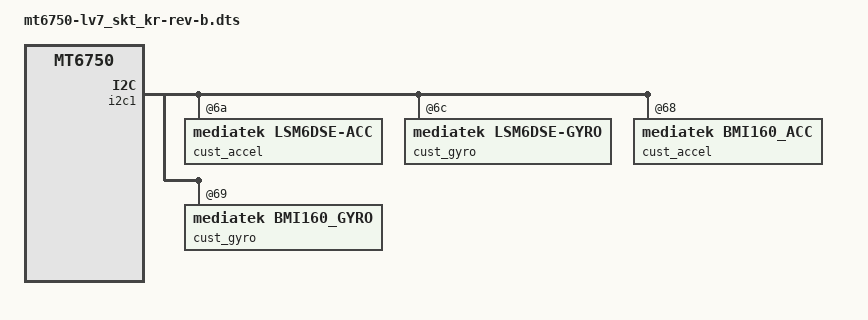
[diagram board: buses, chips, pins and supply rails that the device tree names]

/dts-v1/;

#include "../muse6750_hdk_o_lge.dtsi"

#include "../mt6750-common.dtsi"

#include "mt6750-lv7_skt_kr-power.dtsi"
#include "mt6750-lv7_skt_kr-panel.dtsi"
#include "mt6750-lv7_skt_kr-touch.dtsi"
#include "mt6750-lv7_skt_kr-sensor.dtsi"
//#include "mt6750-lv7_skt_kr-fingerprint.dtsi"
#include "mt6750-lv7_skt_kr-misc.dtsi"
#include "mt6750-lv7_skt_kr-sound.dtsi"
#include "mt6750-lv7_skt_kr-nfc.dtsi"
#include "mt6750-lv7_skt_kr-common.dtsi"
#include "mt6750-lv7_skt_kr-usb.dtsi"
#include "mt6750-lv7_skt_kr-camera.dtsi"
#include "mt6750-lv7_skt_kr-tdmb.dtsi"

/ {
	/*
	typedef enum {
		HW_REV_0 = 0,
		HW_REV_0_1,
		HW_REV_A,
		HW_REV_B,
		HW_REV_C,
		HW_REV_1_0,
		HW_REV_1_1,
		HW_REV_MAX
	} rev_type;
	*/
	lge,pcb_revision = <0x3>; // rev_b
};

&i2c1 {
	cust_accel@6a {
		compatible = "mediatek,lsm6dse-acc";
		direction = <7>;
	};

	cust_gyro@6c {
		compatible = "mediatek,lsm6dse-gyro";
		direction = <7>;
	};

	cust_accel@68 {
		compatible = "mediatek,bmi160_acc";
		direction = <4>;
	};

	cust_gyro@69 {
		compatible = "mediatek,bmi160_gyro";
		direction = <4>;
	};
};

&bat_meter {
	/* cust_battery_meter.h */
	r_charger_2 = <39 >;
};
